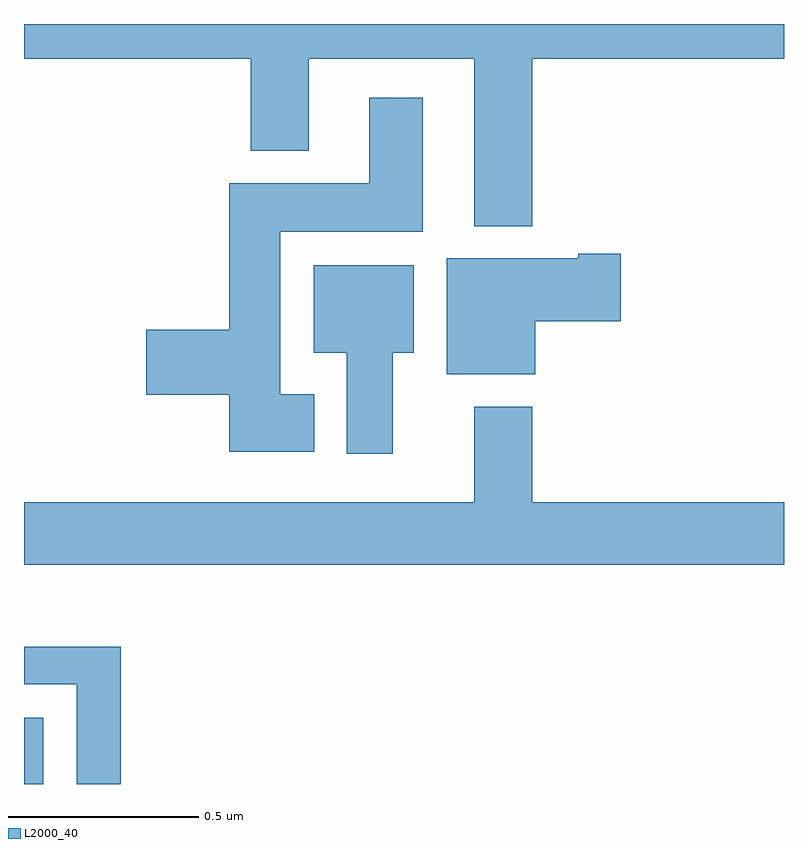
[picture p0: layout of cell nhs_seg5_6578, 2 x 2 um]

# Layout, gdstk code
import gdstk
lib = gdstk.Library(unit=1e-6, precision=1e-09)
def R(c, l, rs):  # rectangles x0, y0, x1, y1
    for r in rs: c.add(gdstk.rectangle(r[:2], r[2:], *l))
def P(c, l, *ps):  # polygons
    for p in ps: c.add(gdstk.Polygon(p, *l))
L2000_40 = (2000, 40)

nhs_seg5_6578 = lib.new_cell('nhs_seg5_6578')
R(nhs_seg5_6578, L2000_40, [(197,906.799,197.05,906.973)])
P(nhs_seg5_6578, L2000_40, [(198.338,908.708),(199,908.708),(199,908.799),(197,908.799),(197,908.708),(197.597,908.708),(197.597,908.465),(197.749,908.465),(197.749,908.708),(198.185,908.708),(198.185,908.267),(198.338,908.267)],
  [(197.764,907.825),(197.674,907.825),(197.674,908.252),(198.049,908.252),(198.049,908.605),(197.909,908.605),(197.909,908.38),(197.54,908.38),(197.54,907.994),(197.322,907.994),(197.322,907.823),(197.54,907.823),(197.54,907.673),(197.764,907.673)],
  [(198.346,908.017),(198.571,908.017),(198.571,908.195),(198.458,908.195),(198.458,908.182),(198.113,908.182),(198.113,907.877),(198.346,907.877)],
  [(197.971,907.934),(198.025,907.934),(198.025,908.164),(197.762,908.164),(197.762,907.934),(197.849,907.934),(197.849,907.668),(197.971,907.668)],
  [(199,907.54),(198.338,907.54),(198.338,907.792),(198.185,907.792),(198.185,907.54),(197,907.54),(197,907.376),(199,907.376)],
  [(197.255,907.16),(197,907.16),(197,907.062),(197.139,907.062),(197.139,906.799),(197.255,906.799)])

lib.write_gds('nhs_seg5_6578.gds')
